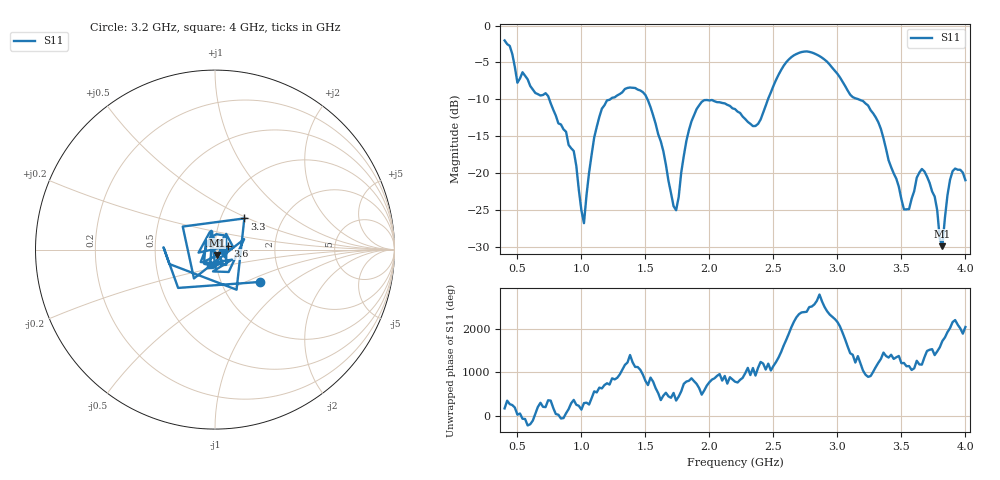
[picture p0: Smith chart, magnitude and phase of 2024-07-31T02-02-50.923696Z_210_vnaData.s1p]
!Created with skrf (http://scikit-rf.org).
# Hz S RI R 50.0
!freq ReS11 ImS11
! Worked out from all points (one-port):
!   181 points, 400 MHz to 4 GHz, reference 50 ohm
!   lowest |S11| = -29.9 dB at 3.82 GHz (marker M1), VSWR 1.07, Z = 50.9 - j3.09 ohm
!   |S11| at or under -10 dB: 749.1 MHz to 1.225 GHz (475.4 MHz wide, 48.2 % of centre); 1.516 GHz to 2.458 GHz (941.3 MHz wide, 47.4 % of centre); 3.166 GHz to end of sweep
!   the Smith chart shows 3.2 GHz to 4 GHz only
!   S11 on the Smith chart (normalised r, x): 3.2 GHz: 1.52, -0.61; 3.3 GHz: 1.29, +0.48; 3.6 GHz: 1.16, +0.05; 4 GHz: 0.94, -0.16
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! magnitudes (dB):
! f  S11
! 400 MHz  -2.0
! 500 MHz  -7.7
! 720 MHz  -9.2
! 860 MHz  -14.1
! 940 MHz  -17.0
! 1.02 GHz  -26.8
! 1.08 GHz  -17.5
! 1.14 GHz  -12.4
! 1.3 GHz  -9.3
! 1.5 GHz  -9.4
! 1.72 GHz  -24.5
! 1.76 GHz  -23.2
! 1.82 GHz  -15.6
! 1.9 GHz  -11.3
! 2.2 GHz  -11.3
! 2.38 GHz  -13.3
! 2.66 GHz  -4.0
! 2.88 GHz  -4.4
! 3.1 GHz  -9.4
! 3.2 GHz  -10.2
! 3.3 GHz  -12.5
! 3.56 GHz  -24.9
! 3.6 GHz  -22.4
! 3.68 GHz  -19.8
! 3.76 GHz  -23.2
! 3.82 GHz  -29.9
! 3.9 GHz  -19.7
! 4 GHz  -21.0
